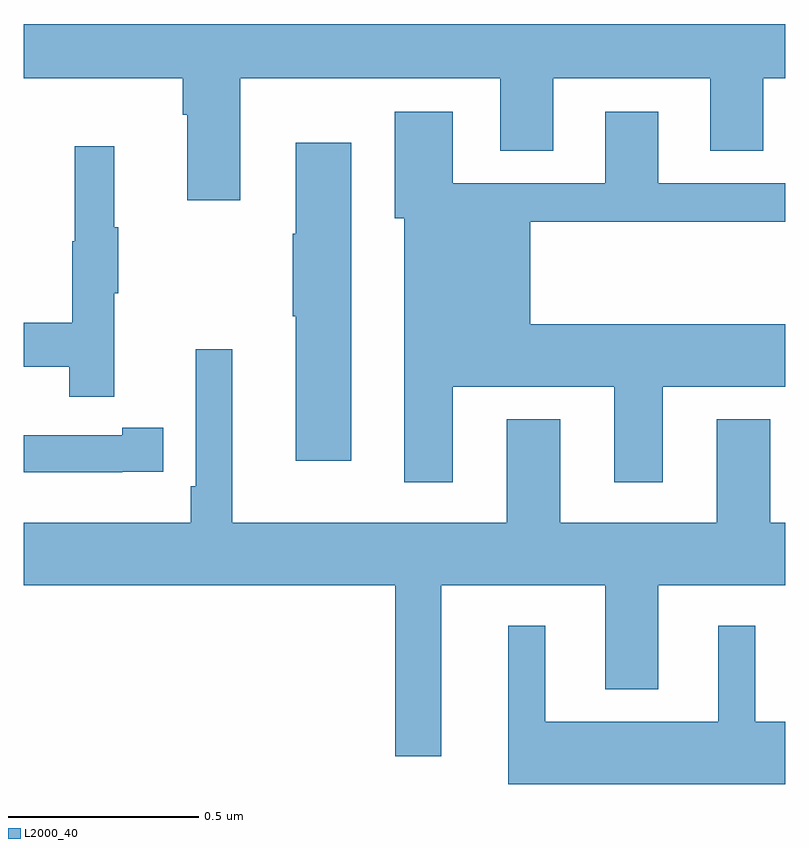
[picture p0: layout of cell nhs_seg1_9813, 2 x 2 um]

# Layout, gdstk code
import gdstk
lib = gdstk.Library(unit=1e-6, precision=1e-09)
def P(c, l, *ps):  # polygons
    for p in ps: c.add(gdstk.Polygon(p, *l))
L2000_40 = (2000, 40)

nhs_seg1_9813 = lib.new_cell('nhs_seg1_9813')
P(nhs_seg1_9813, L2000_40, [(233.569,561.056),(234.251,561.056),(234.251,560.866),(234.391,560.866),(234.391,561.056),(234.803,561.056),(234.803,560.866),(234.943,560.866),(234.943,561.056),(235,561.056),(235,561.199),(233,561.199),(233,561.056),(233.417,561.056),(233.417,560.96),(233.429,560.96),(233.429,560.736),(233.569,560.736)],
  [(234.127,560.246),(234.551,560.246),(234.551,559.995),(234.679,559.995),(234.679,560.246),(235,560.246),(235,560.41),(234.331,560.41),(234.331,560.68),(235,560.68),(235,560.781),(234.667,560.781),(234.667,560.968),(234.527,560.968),(234.527,560.781),(234.127,560.781),(234.127,560.968),(233.975,560.968),(233.975,560.688),(233.999,560.688),(233.999,559.995),(234.127,559.995)],
  [(233.86,560.887),(233.714,560.887),(233.714,560.648),(233.707,560.648),(233.707,560.431),(233.714,560.431),(233.714,560.052),(233.86,560.052)],
  [(233.237,560.491),(233.248,560.491),(233.248,560.665),(233.237,560.665),(233.237,560.878),(233.134,560.878),(233.134,560.628),(233.127,560.628),(233.127,560.414),(233,560.414),(233,560.298),(233.119,560.298),(233.119,560.22),(233.237,560.22)],
  [(234.097,559.724),(234.527,559.724),(234.527,559.451),(234.667,559.451),(234.667,559.724),(235,559.724),(235,559.888),(234.961,559.888),(234.961,560.161),(234.821,560.161),(234.821,559.888),(234.409,559.888),(234.409,560.161),(234.269,560.161),(234.269,559.888),(233.548,559.888),(233.548,560.344),(233.451,560.344),(233.451,559.984),(233.438,559.984),(233.438,559.888),(233,559.888),(233,559.724),(233.976,559.724),(233.976,559.275),(234.097,559.275)],
  [(233.258,560.022),(233.366,560.022),(233.366,560.138),(233.258,560.138),(233.258,560.118),(233,560.118),(233,560.021),(233.258,560.021)],
  [(235,559.366),(234.922,559.366),(234.922,559.618),(234.824,559.618),(234.824,559.366),(234.37,559.366),(234.37,559.618),(234.272,559.618),(234.272,559.202),(235,559.202)])

lib.write_gds('nhs_seg1_9813.gds')
